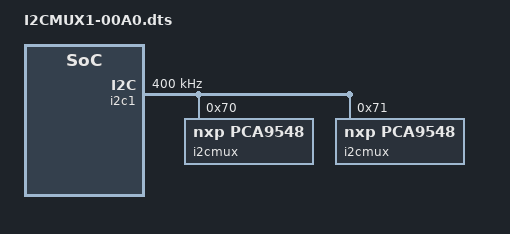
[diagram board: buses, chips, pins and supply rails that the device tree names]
/*
 * Copyright (C) 2012 Texas Instruments Incorporated - http://www.ti.com/
 *
 * This program is free software; you can redistribute it and/or modify
 * it under the terms of the GNU General Public License version 2 as
 * published by the Free Software Foundation.
 */

/* 
                USEFUL INFO
Pin Mask:
Bit 	Description
6 	Slew Control. Slew Rate: Fast is 0, Slow is 1
5 	Receiver Active. Input Enable: Receiver Disable 0, Receiver Enable 1
4 	Pad Pullup/Pulldown Type. Pullup is 1, Pulldown is 0
3 	Pad Pullup/Pulldown enable. Enabled is 0, Disabled is 1
2-0 	Mode. Pad functional mux select. A number between 0 and 7 i.e. 000 and 111. This depends on which mode we require. 

Compile:
dtc -O dtb -o I2CMUX-00A0.dtbo -b 0 -@ I2CMUX-00A0.dts

*/

/dts-v1/;
/plugin/;
/*
#include "am335x-bbw-bbb-base.h"
#include "am33xx.h"
*/
/ {
	compatible = "ti,beaglebone", "ti,beaglebone-black", "ti,beaglebone-green";

	/* identification */
	part-number = "I2CMUX1";
	version = "00A0";

	/* state the resources this cape uses */
	exclusive-use =
		/* the pin header uses */
		"P9.26",	// i2c1_sda
		"P9.24",	// i2c1_scl      
		/* the hardware ip uses */
		"i2c1";

    aliases {
  
        i2c26 = &im_0;
        i2c27 = &im_1;
        i2c28 = &im_2;
        i2c29 = &im_3;
        i2c30 = &im_4;
        i2c31 = &im_5;
        i2c32 = &im_6;
        i2c33 = &im_7;
        i2c34 = &im_8;
        i2c35 = &im_9;
        i2c36 = &im_10;
        i2c37 = &im_11;
        i2c38 = &im_12;
        i2c39 = &im_13;
        i2c40 = &im_14;
        i2c41 = &im_15;         
    }; 
    
	/*fragment@0 {
		target-path="/";
		__overlay__ {

			chosen {
				overlays {
					I2CMUX-00A0 = __TIMESTAMP__;
				};
			};
		};
	}; */  

	/*
	 * Free up the pins used by the cape from the pinmux helpers.
	 */
	fragment@0 {
		target = <&ocp>;
		__overlay__ {
			P9_26_pinmux { status = "disabled"; };	/* i2c1_scl */
			P9_24_pinmux { status = "disabled"; };	/* i2c1_sda */            
		};
	};

	fragment@1 {
		target = <&am33xx_pinmux>;
		__overlay__ {
			bb_i2c1_pins: pinmux_bb_i2c1_pins {
				pinctrl-single,pins = <
					0x180 0x73	/* i2c1_sda, SLEWCTRL_SLOW | INPUT_PULLUP | MODE3 */
					0x184 0x73	/* i2c1_scl, SLEWCTRL_SLOW | INPUT_PULLUP | MODE3 */
				>;
			};
		};
	};  

	fragment@2 {
		target = <&i2c1>;
		__overlay__ {
			status = "okay";
			pinctrl-names = "default";
			pinctrl-0 = <&bb_i2c1_pins>;
			/* this is the configuration part */
			clock-frequency = <400000>;

			#address-cells = <1>;
			#size-cells = <0>;

			/* PCA9548 I2C multiplexer */
			i2cmux@70 {
				#address-cells = <1>;
				#size-cells = <0>;
				compatible = "nxp,pca9548";
				reg = <0x70>;

				im_0: i2c@0 {
					#address-cells = <1>;
					#size-cells = <0>;
					compatible = "nxp,pca954x";
					reg = <0>;
					deselect_on_exit;
				};
				im_1: i2c@1 {
					#address-cells = <1>;
					#size-cells = <0>;
					compatible = "nxp,pca954x";
					reg = <1>;
					deselect_on_exit;
				};
				im_2: i2c@2 {
					#address-cells = <1>;
					#size-cells = <0>;
					compatible = "nxp,pca954x";
					reg = <2>;
					deselect_on_exit;
				};
				im_3: i2c@3 {
					#address-cells = <1>;
					#size-cells = <0>;
					compatible = "nxp,pca954x";
					reg = <3>;
					deselect_on_exit;
				};
				im_4: i2c@4 {
					#address-cells = <1>;
					#size-cells = <0>;
					compatible = "nxp,pca954x";
					reg = <4>;
					deselect_on_exit;
				};
				im_5: i2c@5 {
					#address-cells = <1>;
					#size-cells = <0>;
					compatible = "nxp,pca954x";
					reg = <5>;
					deselect_on_exit;
				};
				im_6: i2c@6 {
					#address-cells = <1>;
					#size-cells = <0>;
					compatible = "nxp,pca954x";
					reg = <6>;
					deselect_on_exit;
				};
				im_7: i2c@7 {
					#address-cells = <1>;
					#size-cells = <0>;
					compatible = "nxp,pca954x";
					reg = <7>;
					deselect_on_exit;
				};                
			};
            
			i2cmux@71 {
				#address-cells = <1>;
				#size-cells = <0>;
				compatible = "nxp,pca9548";
				reg = <0x71>;

				im_8: i2c@0 {
					#address-cells = <1>;
					#size-cells = <0>;
					compatible = "nxp,pca954x";
					reg = <0>;
					deselect_on_exit;
				};
				im_9: i2c@1 {
					#address-cells = <1>;
					#size-cells = <0>;
					compatible = "nxp,pca954x";
					reg = <1>;
					deselect_on_exit;
				};
				im_10: i2c@2 {
					#address-cells = <1>;
					#size-cells = <0>;
					compatible = "nxp,pca954x";
					reg = <2>;
					deselect_on_exit;
				};
				im_11: i2c@3 {
					#address-cells = <1>;
					#size-cells = <0>;
					compatible = "nxp,pca954x";
					reg = <3>;
					deselect_on_exit;
				};
				im_12: i2c@4 {
					#address-cells = <1>;
					#size-cells = <0>;
					compatible = "nxp,pca954x";
					reg = <4>;
					deselect_on_exit;
				};
				im_13: i2c@5 {
					#address-cells = <1>;
					#size-cells = <0>;
					compatible = "nxp,pca954x";
					reg = <5>;
					deselect_on_exit;
				};
				im_14: i2c@6 {
					#address-cells = <1>;
					#size-cells = <0>;
					compatible = "nxp,pca954x";
					reg = <6>;
					deselect_on_exit;
				};
				im_15: i2c@7 {
					#address-cells = <1>;
					#size-cells = <0>;
					compatible = "nxp,pca954x";
					reg = <7>;
					deselect_on_exit;
				};                
			};            
		};
	};    

};








